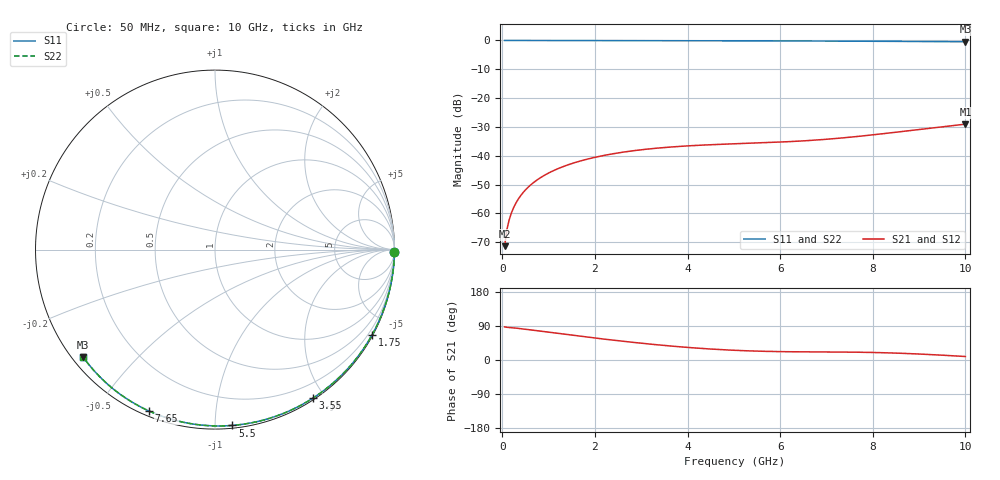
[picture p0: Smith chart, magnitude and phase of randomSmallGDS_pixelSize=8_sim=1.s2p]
! freq	dB(S11)	phase(S11)	dB(S12)	phase(S12)
!  dB(S21)	phase(S21)	dB(S22)	phase(S22)
!S-par simulation data
#  GHz  S  DB  R 50
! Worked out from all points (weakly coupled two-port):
!   200 points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, 50 MHz to 10 GHz, reference 50 ohm
!   highest |S21| = -29.05 dB at 10 GHz (marker M1); lowest = -71.4 dB at 50 MHz (marker M2)
!   lowest |S11| = -0.5 dB at 10 GHz (marker M3), VSWR 37.29, Z = 1.51 - j17.8 ohm
!   |S11| at or under -10 dB: nowhere
!   |S22| runs from -0.5 to 0.0 dB; largest |S21 - S12| = 0
!   S11 on the Smith chart (normalised r, x): 50 MHz: open; 1.75 GHz: 0.03, -3.92; 3.55 GHz: 0.02, -1.86; 5.5 GHz: 0.02, -1.10; 7.65 GHz: 0.02, -0.67; 10 GHz: 0.03, -0.36
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0.05  -0.00 -0.8  -71.39 87.2  -71.39 87.2  -0.00 -0.8
0.1  -0.00 -1.7  -65.58 86.3  -65.58 86.3  -0.00 -1.7
0.15  -0.00 -2.5  -62.16 85.8  -62.16 85.8  -0.00 -2.5
0.2  -0.00 -3.3  -59.72 85.3  -59.72 85.3  -0.00 -3.3
0.25  -0.00 -4.2  -57.81 84.7  -57.81 84.7  -0.00 -4.2
0.35  -0.00 -5.8  -54.93 83.4  -54.93 83.4  -0.00 -5.8
0.5  -0.01 -8.3  -51.87 81.2  -51.87 81.2  -0.01 -8.3
0.7  -0.01 -11.6  -49.00 78.1  -49.00 78.1  -0.01 -11.6
1  -0.02 -16.5  -46.00 73.4  -46.00 73.4  -0.02 -16.5
1.35  -0.03 -22.2  -43.56 67.9  -43.56 67.9  -0.03 -22.2
1.75  -0.04 -28.6  -41.54 61.8  -41.54 61.8  -0.04 -28.6
2.5  -0.05 -40.5  -39.03 50.9  -39.03 50.9  -0.05 -40.5
3.4  -0.07 -54.3  -37.29 39.5  -37.29 39.5  -0.07 -54.3
3.55  -0.08 -56.5  -37.09 37.8  -37.09 37.8  -0.08 -56.6
4.3  -0.10 -67.5  -36.33 30.5  -36.33 30.5  -0.10 -67.6
5.05  -0.12 -78.1  -35.84 25.4  -35.84 25.4  -0.12 -78.2
5.5  -0.14 -84.3  -35.59 23.4  -35.59 23.4  -0.14 -84.4
6.7  -0.19 -100.2  -34.64 21.4  -34.64 21.4  -0.19 -100.3
7.65  -0.25 -112.2  -33.35 20.6  -33.35 20.6  -0.25 -112.3
8.35  -0.30 -120.8  -32.13 18.8  -32.13 18.8  -0.31 -121.0
9.2  -0.38 -131.1  -30.53 14.6  -30.53 14.6  -0.38 -131.3
10  -0.47 -140.7  -29.05 9.2  -29.05 9.2  -0.47 -140.9
